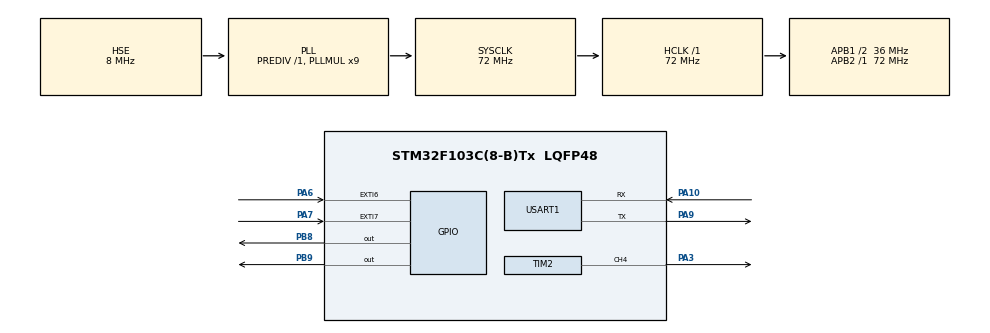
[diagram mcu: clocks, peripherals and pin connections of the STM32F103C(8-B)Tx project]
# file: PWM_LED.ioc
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Mcu.Family=STM32F1
Mcu.Name=STM32F103C(8-B)Tx
Mcu.Package=LQFP48
NVIC.EXTI9_5_IRQn=true\:1\:0\:true\:false\:true\:true\:true\:true
NVIC.PriorityGroup=NVIC_PRIORITYGROUP_4
NVIC.TIM2_IRQn=true\:2\:0\:true\:false\:true\:true\:true\:true
NVIC.USART1_IRQn=true\:0\:0\:false\:false\:true\:true\:true\:true
PA10.Mode=Asynchronous
PA10.Signal=USART1_RX
PA13.Mode=Serial_Wire
PA13.Signal=SYS_JTMS-SWDIO
PA14.Mode=Serial_Wire
PA14.Signal=SYS_JTCK-SWCLK
PA3.Signal=S_TIM2_CH4
PA6.GPIO_ModeDefaultEXTI=GPIO_MODE_IT_FALLING
PA6.GPIO_PuPd=GPIO_PULLUP
PA6.Signal=GPXTI6
PA7.GPIO_ModeDefaultEXTI=GPIO_MODE_IT_FALLING
PA7.GPIO_PuPd=GPIO_PULLUP
PA7.Signal=GPXTI7
PA9.Mode=Asynchronous
PA9.Signal=USART1_TX
PB8.GPIO_Speed=GPIO_SPEED_FREQ_HIGH
PB8.Signal=GPIO_Output
PB9.GPIO_Speed=GPIO_SPEED_FREQ_HIGH
PB9.Signal=GPIO_Output
PC14-OSC32_IN.Mode=LSE-External-Oscillator
PC14-OSC32_IN.Signal=RCC_OSC32_IN
PC15-OSC32_OUT.Mode=LSE-External-Oscillator
PC15-OSC32_OUT.Signal=RCC_OSC32_OUT
PD0-OSC_IN.Mode=HSE-External-Oscillator
PD0-OSC_IN.Signal=RCC_OSC_IN
PD1-OSC_OUT.Mode=HSE-External-Oscillator
PD1-OSC_OUT.Signal=RCC_OSC_OUT
ProjectManager.HeapSize=0x200
ProjectManager.StackSize=0x400
ProjectManager.TargetToolchain=MDK-ARM V5.32
RCC.AHBFreq_Value=72000000
RCC.APB1CLKDivider=RCC_HCLK_DIV2
RCC.APB1Freq_Value=36000000
RCC.APB1TimFreq_Value=72000000
RCC.APB2Freq_Value=72000000
RCC.APB2TimFreq_Value=72000000
RCC.HCLKFreq_Value=72000000
RCC.PLLMUL=RCC_PLL_MUL9
RCC.PLLSourceVirtual=RCC_PLLSOURCE_HSE
RCC.SYSCLKFreq_VALUE=72000000
RCC.SYSCLKSource=RCC_SYSCLKSOURCE_PLLCLK
RCC.USBFreq_Value=72000000
SH.S_TIM2_CH4.0=TIM2_CH4,PWM Generation4 CH4
TIM2.Channel-PWM\ Generation4\ CH4=TIM_CHANNEL_4
TIM2.Period=100-1
TIM2.Prescaler=72-1
TIM2.Pulse-PWM\ Generation4\ CH4=99
USART1.VirtualMode=VM_ASYNC
VP_TIM2_VS_ClockSourceINT.Mode=Internal
board=custom

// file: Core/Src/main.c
/* USER CODE BEGIN Header */
/**
  ******************************************************************************
  * @file           : main.c
  * @brief          : Main program body
  ******************************************************************************
  * @attention
  *
  * Copyright (c) 2026 STMicroelectronics.
  * All rights reserved.
  *
  * This software is licensed under terms that can be found in the LICENSE file
  * in the root directory of this software component.
  * If no LICENSE file comes with this software, it is provided AS-IS.
  *
  ******************************************************************************
  */
/* USER CODE END Header */
#include "main.h"
#include "tim.h"
#include "usart.h"
#include "gpio.h"

/* USER CODE BEGIN Includes */
#include "oled.h"
/* USER CODE END Includes */

/* USER CODE BEGIN PV */
volatile int i=0;//初始占空比
volatile uint16_t flag=0;
uint8_t mode=0;//用来存放模式
uint8_t rx_data;//存放收到的字符
volatile int duty;
/* USER CODE END PV */

void SystemClock_Config(void);

/* USER CODE BEGIN 0 */
void HAL_UART_RxCpltCallback(UART_HandleTypeDef *huart)
{

	if (huart==&huart1)
	{
		if(rx_data=='A')//识别收到的字符
		{
			mode=1;//改变模式

			flag=0;//错误提示的标志

		}
		else if(rx_data=='M')//识别收到的字符
		{
			mode=2;

			flag=0;
		}

			else if(rx_data=='+' && mode==2)//识别收到的字符
			{
				i=i+20;//每次占空比增加20
				if(i>=100)//把i锁定在最大值
	            {
		        i=100;
	            }
				duty=i*100/(htim2.Init.Period+1);
				 __HAL_TIM_SET_COMPARE(&htim2,TIM_CHANNEL_4,i);//改变PWM的值
	             OLED_ShowNum(40,0,duty,3,16);//输出结果
	             OLED_ShowChar(64,0,'%',16);
				flag=0;//改变错误提示的标志
			}
			else if(rx_data=='-' && mode==2)//识别收到的字符
			{
				i=i-20;
				if(i<=0)//把i锁定在最小值
	            {
		        i=0;
	            }
				duty=i*100/(htim2.Init.Period+1);
				 __HAL_TIM_SET_COMPARE(&htim2,TIM_CHANNEL_4,i);//改变PWM
	             OLED_ShowNum(40,0,duty,3,16);
	             OLED_ShowChar(64,0,'%',16);//OLED显示结果
				flag=0;//改变错误提示的标志
			}
			else flag=1;

	}
	HAL_UART_Receive_IT(&huart1,&rx_data,1);//开启UART接收中断
}

/* USER CODE END 0 */

int main(void)
{

  /* MCU Configuration--------------------------------------------------------*/

  /* Reset of all peripherals, Initializes the Flash interface and the Systick. */
  HAL_Init();

  /* Configure the system clock */
  SystemClock_Config();

  /* Initialize all configured peripherals */
  MX_GPIO_Init();
  MX_TIM2_Init();
  MX_USART1_UART_Init();
  /* USER CODE BEGIN 2 */
  OLED_Init();
  HAL_TIM_PWM_Start(&htim2,TIM_CHANNEL_4);//开启PWM
  OLED_Clear(0x00);//OLED清屏
  OLED_ShowString(0,0,(uint8_t*)"Duty:",16);
  HAL_UART_Receive_IT(&huart1,&rx_data,1);
  __HAL_TIM_SET_COMPARE(&htim2,TIM_CHANNEL_4,i);
  /* USER CODE END 2 */

  /* Infinite loop */
  /* USER CODE BEGIN WHILE */
  while (1)
  {
	  OLED_ShowString(0,0,(uint8_t*)"Duty:",16);
	  if(flag==1)
	  {
		 OLED_ShowString(0,10,(uint8_t*)"Input Invalid",16); //若输入错误弹出提示
	  }
	  if(flag==0)
	  {
		 OLED_ShowString(0,10,(uint8_t*)"             ",16); //输入正确覆盖提示
	  }
	  if(mode==1)
		{
			if(i<20)//锁定占空比范围
			{
				i=20;
			}
			if(i>80)//锁定占空比范围
			{
				i=80;
			}
			for(;i<=80 && i>=20;)
			{

			    for(;i<80;i++)//占空比平滑增加
				{
					HAL_Delay(20);
					duty=i*100/(htim2.Init.Period+1);
				     __HAL_TIM_SET_COMPARE(&htim2,TIM_CHANNEL_4,i);//OLED显示占空比
	                 OLED_ShowNum(40,0,duty,3,16);
	                 OLED_ShowChar(64,0,'%',16);
					if(flag==1)
	                {
		                OLED_ShowString(0,10,(uint8_t*)"Input Invalid",16); //提示错误
	                }
	                if(flag==0)
	                {
		                OLED_ShowString(0,10,(uint8_t*)"             ",16); //消去错误提示
	                }
					if(mode!=1)
					break;//当改变模式则跳出死循环
				}
				if(i==80)
				{
				    for(;i>20;i--)
					{
						HAL_Delay(20);
						duty=i*100/(htim2.Init.Period+1);
					     __HAL_TIM_SET_COMPARE(&htim2,TIM_CHANNEL_4,i);
	                     OLED_ShowNum(40,0,duty,3,16);
	                     OLED_ShowChar(64,0,'%',16);//OLED显示结果
						if(flag==1)
	                    {
		                    OLED_ShowString(0,10,(uint8_t*)"Input Invalid",16); //提示错误
	                    }
	                    if(flag==0)
	                    {
		                    OLED_ShowString(0,10,(uint8_t*)"             ",16); //消除错误提示
	                    }
						if(mode!=1)
					    break;
					}
				}
			}

		}

    /* USER CODE END WHILE */

  }
}

void SystemClock_Config(void)
{
  RCC_OscInitTypeDef RCC_OscInitStruct = {0};
  RCC_ClkInitTypeDef RCC_ClkInitStruct = {0};

  /** Initializes the RCC Oscillators according to the specified parameters
  * in the RCC_OscInitTypeDef structure.
  */
  RCC_OscInitStruct.OscillatorType = RCC_OSCILLATORTYPE_HSE;
  RCC_OscInitStruct.HSEState = RCC_HSE_ON;
  RCC_OscInitStruct.HSEPredivValue = RCC_HSE_PREDIV_DIV1;
  RCC_OscInitStruct.HSIState = RCC_HSI_ON;
  RCC_OscInitStruct.PLL.PLLState = RCC_PLL_ON;
  RCC_OscInitStruct.PLL.PLLSource = RCC_PLLSOURCE_HSE;
  RCC_OscInitStruct.PLL.PLLMUL = RCC_PLL_MUL9;
  if (HAL_RCC_OscConfig(&RCC_OscInitStruct) != HAL_OK)
  {
    Error_Handler();
  }

  /** Initializes the CPU, AHB and APB buses clocks
  */
  RCC_ClkInitStruct.ClockType = RCC_CLOCKTYPE_HCLK|RCC_CLOCKTYPE_SYSCLK
                              |RCC_CLOCKTYPE_PCLK1|RCC_CLOCKTYPE_PCLK2;
  RCC_ClkInitStruct.SYSCLKSource = RCC_SYSCLKSOURCE_PLLCLK;
  RCC_ClkInitStruct.AHBCLKDivider = RCC_SYSCLK_DIV1;
  RCC_ClkInitStruct.APB1CLKDivider = RCC_HCLK_DIV2;
  RCC_ClkInitStruct.APB2CLKDivider = RCC_HCLK_DIV1;

  if (HAL_RCC_ClockConfig(&RCC_ClkInitStruct, FLASH_LATENCY_2) != HAL_OK)
  {
    Error_Handler();
  }
}

void Error_Handler(void)
{
  __disable_irq();
  while (1)
  {
  }
}
